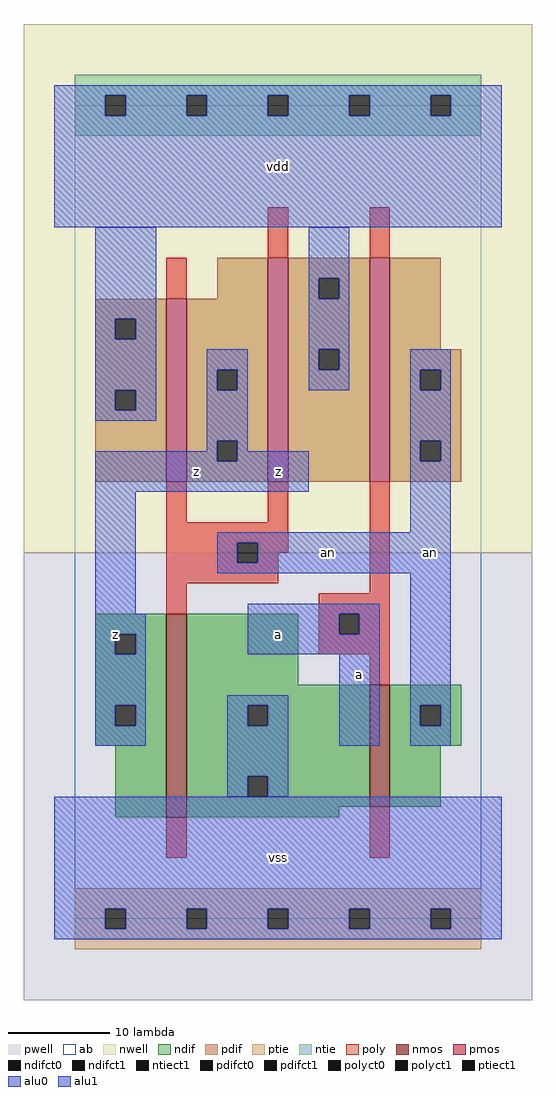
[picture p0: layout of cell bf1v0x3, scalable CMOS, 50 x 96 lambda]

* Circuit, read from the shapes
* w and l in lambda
.subckt bf1v0x3 a an vdd vss z
M1 vss an z vss nfet w=20 l=2
M2 an a vss vss nfet w=12 l=2
M3 z an vdd vdd pfet w=18 l=2
M4 vdd an z vdd pfet w=22 l=2
M5 an a vdd vdd pfet w=22 l=2
.ends

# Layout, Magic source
magic
tech scmos
<< ab >>
rect 0 0 40 80
<< nwell >>
rect -5 36 45 88
<< pwell >>
rect -5 -8 45 36
<< poly >>
rect 19 65 21 70
rect 29 65 31 70
rect 9 61 11 65
rect 9 39 11 43
rect 19 39 21 43
rect 9 37 21 39
rect 9 35 16 37
rect 18 36 21 37
rect 18 35 20 36
rect 9 33 20 35
rect 9 30 11 33
rect 29 32 31 43
rect 24 30 31 32
rect 24 28 26 30
rect 28 28 31 30
rect 24 26 31 28
rect 29 23 31 26
rect 9 6 11 10
rect 29 6 31 11
<< ndif >>
rect 2 28 9 30
rect 2 26 4 28
rect 6 26 9 28
rect 2 21 9 26
rect 2 19 4 21
rect 6 19 9 21
rect 2 17 9 19
rect 4 10 9 17
rect 11 23 22 30
rect 11 21 29 23
rect 11 19 17 21
rect 19 19 29 21
rect 11 14 29 19
rect 11 12 17 14
rect 19 12 29 14
rect 11 11 29 12
rect 31 21 38 23
rect 31 19 34 21
rect 36 19 38 21
rect 31 17 38 19
rect 31 11 36 17
rect 11 10 26 11
<< pdif >>
rect 14 61 19 65
rect 2 59 9 61
rect 2 57 4 59
rect 6 57 9 59
rect 2 52 9 57
rect 2 50 4 52
rect 6 50 9 52
rect 2 43 9 50
rect 11 54 19 61
rect 11 52 14 54
rect 16 52 19 54
rect 11 47 19 52
rect 11 45 14 47
rect 16 45 19 47
rect 11 43 19 45
rect 21 63 29 65
rect 21 61 24 63
rect 26 61 29 63
rect 21 56 29 61
rect 21 54 24 56
rect 26 54 29 56
rect 21 43 29 54
rect 31 56 36 65
rect 31 54 38 56
rect 31 52 34 54
rect 36 52 38 54
rect 31 47 38 52
rect 31 45 34 47
rect 36 45 38 47
rect 31 43 38 45
<< alu1 >>
rect -2 81 42 82
rect -2 79 3 81
rect 5 79 11 81
rect 13 79 19 81
rect 21 79 27 81
rect 29 79 35 81
rect 37 79 42 81
rect -2 68 42 79
rect 13 54 17 56
rect 13 52 14 54
rect 16 52 17 54
rect 13 47 17 52
rect 13 46 14 47
rect 2 45 14 46
rect 16 46 17 47
rect 16 45 23 46
rect 2 42 23 45
rect 2 30 6 42
rect 17 30 30 31
rect 2 28 7 30
rect 2 26 4 28
rect 6 26 7 28
rect 17 28 26 30
rect 28 28 30 30
rect 17 26 30 28
rect 2 21 7 26
rect 2 19 4 21
rect 6 19 7 21
rect 2 17 7 19
rect 26 17 30 26
rect -2 1 42 12
rect -2 -1 3 1
rect 5 -1 11 1
rect 13 -1 19 1
rect 21 -1 27 1
rect 29 -1 35 1
rect 37 -1 42 1
rect -2 -2 42 -1
<< ptie >>
rect 0 1 40 3
rect 0 -1 3 1
rect 5 -1 11 1
rect 13 -1 19 1
rect 21 -1 27 1
rect 29 -1 35 1
rect 37 -1 40 1
rect 0 -3 40 -1
<< ntie >>
rect 0 81 40 83
rect 0 79 3 81
rect 5 79 11 81
rect 13 79 19 81
rect 21 79 27 81
rect 29 79 35 81
rect 37 79 40 81
rect 0 77 40 79
<< nmos >>
rect 9 10 11 30
rect 29 11 31 23
<< pmos >>
rect 9 43 11 61
rect 19 43 21 65
rect 29 43 31 65
<< polyct0 >>
rect 16 35 18 37
<< polyct1 >>
rect 26 28 28 30
<< ndifct0 >>
rect 17 19 19 21
rect 17 12 19 14
rect 34 19 36 21
<< ndifct1 >>
rect 4 26 6 28
rect 4 19 6 21
<< ntiect1 >>
rect 3 79 5 81
rect 11 79 13 81
rect 19 79 21 81
rect 27 79 29 81
rect 35 79 37 81
<< ptiect1 >>
rect 3 -1 5 1
rect 11 -1 13 1
rect 19 -1 21 1
rect 27 -1 29 1
rect 35 -1 37 1
<< pdifct0 >>
rect 4 57 6 59
rect 4 50 6 52
rect 24 61 26 63
rect 24 54 26 56
rect 34 52 36 54
rect 34 45 36 47
<< pdifct1 >>
rect 14 52 16 54
rect 14 45 16 47
<< alu0 >>
rect 2 59 8 68
rect 2 57 4 59
rect 6 57 8 59
rect 2 52 8 57
rect 23 63 27 68
rect 23 61 24 63
rect 26 61 27 63
rect 23 56 27 61
rect 2 50 4 52
rect 6 50 8 52
rect 2 49 8 50
rect 23 54 24 56
rect 26 54 27 56
rect 23 52 27 54
rect 33 54 37 56
rect 33 52 34 54
rect 36 52 37 54
rect 33 47 37 52
rect 33 45 34 47
rect 36 45 37 47
rect 33 38 37 45
rect 14 37 37 38
rect 14 35 16 37
rect 18 35 37 37
rect 14 34 37 35
rect 15 21 21 22
rect 15 19 17 21
rect 19 19 21 21
rect 15 14 21 19
rect 33 21 37 34
rect 33 19 34 21
rect 36 19 37 21
rect 33 17 37 19
rect 15 12 17 14
rect 19 12 21 14
<< labels >>
rlabel alu0 25 36 25 36 6 an
rlabel alu0 35 36 35 36 6 an
rlabel alu1 4 28 4 28 6 z
rlabel alu1 12 44 12 44 6 z
rlabel alu1 20 6 20 6 6 vss
rlabel alu1 20 28 20 28 6 a
rlabel alu1 28 24 28 24 6 a
rlabel alu1 20 44 20 44 6 z
rlabel alu1 20 74 20 74 6 vdd
<< end >>
